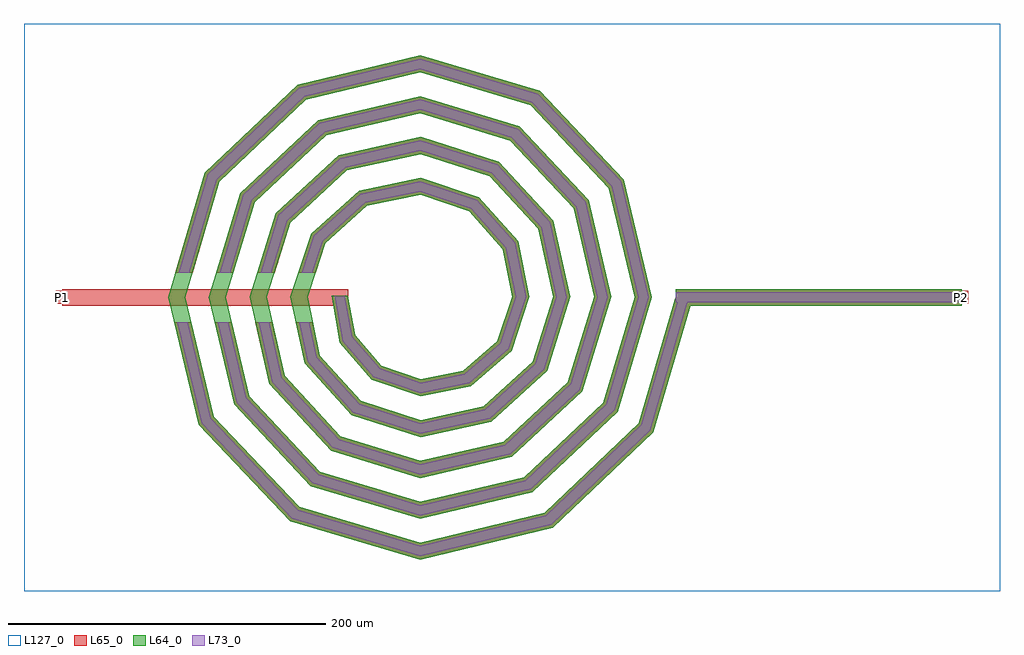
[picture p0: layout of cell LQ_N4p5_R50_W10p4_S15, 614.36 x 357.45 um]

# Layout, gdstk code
import gdstk
lib = gdstk.Library(unit=1e-6, precision=1e-09)
def R(c, l, rs):  # rectangles x0, y0, x1, y1
    for r in rs: c.add(gdstk.rectangle(r[:2], r[2:], *l))
def P(c, l, *ps):  # polygons
    for p in ps: c.add(gdstk.Polygon(p, *l))
L64_0 = (64, 0)
L65_0 = (65, 0)
L73_0 = (73, 0)
L127_0 = (127, 0)

lq_n4p5_r50_w10p4_s15 = lib.new_cell('LQ_N4p5_R50_W10p4_S15')
R(lq_n4p5_r50_w10p4_s15, L64_0, [(160.987,-5.2,340.987,5.2)])
P(lq_n4p5_r50_w10p4_s15, L64_0, [(-40.798,-24.025),(-24.404,-43.051),(0.377,-51.625),(27.197,-46.381),(48.591,-27.649),(58.046,0.339),(51.959,30.377),(30.889,54.135),(0.308,64.467),(-33.562,57.535),(-59.683,34.123),(-70.889,0.282),(-63.108,-36.752),(-37.354,-65.233),(0.26,-77.311),(39.945,-68.68),(70.785,-40.582),(83.733,0.241),(74.251,43.141),(43.808,76.338),(0.225,90.155),(-46.339,79.821),(-81.893,47.032),(-96.578,0.211),(-85.39,-49.538),(-50.255,-87.448),(0.198,-103),(52.739,-90.958),(93.005,-53.476),(109.423,0.187),(96.525,55.941),(56.696,98.562),(0.177,115.846),(-59.144,102.092),(-104.119,59.915),(-122.268,0.168),(-107.659,-62.348),(-63.134,-109.677),(0.16,-128.691),(65.553,-113.225),(115.236,-66.352),(135.114,0.153),(118.791,68.758),(69.569,120.794),(0.146,141.537),(-71.964,124.356),(-126.354,72.786),(-147.959,0.14),(-129.922,-75.17),(-76.002,-131.913),(0.135,-154.382),(78.377,-135.487),(137.473,-79.219),(161.198,1.467),(171.176,-1.467),(146.664,-84.828),(83.529,-144.941),(0.135,-165.146),(-81.621,-141.098),(-139.382,-80.312),(-158.723,0.14),(-135.533,78.414),(-77.096,133.822),(0.146,152.3),(75.208,129.967),(128.263,73.878),(145.877,0.153),(124.401,-72.003),(70.661,-122.704),(0.16,-139.454),(-68.798,-118.835),(-117.145,-67.442),(-133.031,0.168),(-113.268,65.593),(-64.223,111.587),(0.177,126.608),(62.39,107.701),(106.029,61.003),(120.184,0.187),(102.133,-59.187),(57.783,-100.471),(0.198,-113.761),(-55.985,-96.565),(-94.915,-54.561),(-107.338,0.211),(-90.995,52.785),(-51.337,89.359),(0.225,100.914),(49.586,85.425),(83.803,48.112),(94.491,0.241),(79.854,-46.389),(44.885,-78.249),(0.26,-88.067),(-43.194,-74.28),(-72.697,-41.655),(-81.643,0.282),(-68.706,40.002),(-38.422,67.145),(0.308,75.219),(36.814,63.128),(61.596,35.184),(68.795,0.339),(57.548,-33.63),(31.941,-56.05),(0.377,-62.369),(-30.453,-51.963),(-50.507,-28.69),(-55.686,0.954),(-45.463,0.954)])
R(lq_n4p5_r50_w10p4_s15, L65_0, [(-225.374,-5.2,-45.374,5.2), (160.987,-5.2,340.987,5.2), (-229.374,-4,-221.374,4), (336.987,-4,344.987,4)])
P(lq_n4p5_r50_w10p4_s15, L65_0, [(-129.922,-75.17),(-76.003,-131.913),(0.135,-154.382),(78.377,-135.487),(137.473,-79.219),(161.198,1.467),(171.176,-1.467),(146.664,-84.828),(83.529,-144.941),(0.135,-165.146),(-81.621,-141.099),(-139.382,-80.312),(-154.939,-15.6),(-144.243,-15.6)],
  [(-107.659,-62.348),(-63.134,-109.677),(0.16,-128.691),(65.553,-113.225),(115.236,-66.352),(135.114,0.153),(118.791,68.758),(69.569,120.795),(0.146,141.537),(-71.964,124.356),(-126.354,72.786),(-143.296,15.6),(-154.143,15.6),(-135.533,78.414),(-77.096,133.822),(0.146,152.3),(75.208,129.967),(128.263,73.879),(145.877,0.153),(124.401,-72.003),(70.661,-122.704),(0.16,-139.454),(-68.798,-118.835),(-117.145,-67.442),(-129.326,-15.6),(-118.643,-15.6)],
  [(-85.39,-49.538),(-50.255,-87.448),(0.198,-103),(52.739,-90.958),(93.005,-53.476),(109.423,0.187),(96.525,55.941),(56.696,98.562),(0.177,115.846),(-59.144,102.092),(-104.119,59.915),(-117.505,15.6),(-128.369,15.6),(-113.268,65.593),(-64.223,111.587),(0.177,126.608),(62.39,107.701),(106.029,61.004),(120.184,0.187),(102.133,-59.187),(57.783,-100.472),(0.198,-113.761),(-55.985,-96.565),(-94.915,-54.561),(-103.752,-15.6),(-93.087,-15.6)],
  [(-63.108,-36.752),(-37.354,-65.233),(0.26,-77.311),(39.945,-68.681),(70.785,-40.582),(83.733,0.241),(74.251,43.141),(43.808,76.338),(0.225,90.156),(-46.339,79.821),(-81.893,47.032),(-91.663,15.6),(-102.554,15.6),(-90.995,52.785),(-51.337,89.359),(0.225,100.914),(49.586,85.425),(83.804,48.112),(94.491,0.241),(79.854,-46.389),(44.885,-78.249),(0.26,-88.067),(-43.194,-74.281),(-72.697,-41.655),(-78.255,-15.6),(-67.621,-15.6)],
  [(-24.404,-43.051),(0.377,-51.625),(27.197,-46.381),(48.591,-27.649),(58.046,0.339),(51.959,30.377),(30.889,54.135),(0.308,64.467),(-33.562,57.535),(-59.683,34.123),(-65.716,15.6),(-76.654,15.6),(-68.706,40.002),(-38.422,67.145),(0.308,75.219),(36.814,63.128),(61.596,35.184),(68.795,0.339),(57.548,-33.63),(31.941,-56.05),(0.377,-62.369),(-30.453,-51.963),(-50.507,-28.69),(-55.686,0.955),(-45.463,0.955),(-40.798,-24.025)])
R(lq_n4p5_r50_w10p4_s15, L73_0, [(160.987,-3.2,340.987,3.2)])
P(lq_n4p5_r50_w10p4_s15, L73_0, [(-131.741,-76.159),(-77.083,-133.68),(0.083,-156.452),(79.367,-137.305),(139.24,-80.297),(163.117,0.903),(169.257,0.903),(144.896,-83.749),(82.538,-143.123),(0.083,-163.076),(-80.54,-139.332),(-137.562,-79.323),(-152.882,-15.6),(-146.3,-15.6)],
  [(-109.483,-63.328),(-64.223,-111.438),(0.099,-130.761),(66.535,-115.048),(116.998,-67.439),(137.184,0.094),(120.612,69.743),(70.654,122.559),(0.09,143.607),(-72.951,126.177),(-128.119,73.868),(-145.382,15.6),(-152.057,15.6),(-133.768,77.332),(-76.109,132.002),(0.09,150.23),(74.124,128.203),(126.441,72.894),(143.807,0.094),(122.639,-70.916),(69.678,-120.881),(0.099,-137.384),(-67.708,-117.074),(-115.321,-66.463),(-127.271,-15.6),(-120.697,-15.6)],
  [(-87.221,-50.504),(-51.357,-89.201),(0.122,-105.07),(53.709,-92.787),(94.76,-54.574),(111.493,0.115),(98.353,56.915),(57.791,100.319),(0.109,117.915),(-60.121,103.918),(-105.879,61.007),(-119.595,15.6),(-126.28,15.6),(-111.509,64.501),(-63.247,109.761),(0.109,124.538),(61.295,105.943),(104.201,60.03),(118.115,0.115),(100.378,-58.089),(56.813,-98.642),(0.122,-111.692),(-54.883,-94.811),(-93.083,-53.595),(-101.701,-15.6),(-95.138,-15.6)],
  [(-64.952,-37.695),(-38.477,-66.973),(0.16,-79.379),(40.895,-70.521),(72.529,-41.699),(85.802,0.148),(76.088,44.097),(44.919,78.086),(0.139,92.225),(-47.3,81.655),(-83.643,48.138),(-93.758,15.6),(-100.46,15.6),(-89.245,51.679),(-50.376,87.525),(0.139,98.845),(48.475,83.678),(81.967,47.156),(92.422,0.148),(78.11,-45.272),(43.935,-76.409),(0.16,-85.999),(-42.071,-72.541),(-70.853,-40.712),(-76.21,-15.6),(-69.666,-15.6)],
  [(-25.567,-44.765),(0.232,-53.691),(28.109,-48.24),(50.313,-28.799),(60.113,0.208),(53.812,31.301),(32.028,55.865),(0.189,66.535),(-34.497,59.383),(-61.418,35.254),(-67.819,15.6),(-74.55,15.6),(-66.971,38.871),(-37.487,65.297),(0.189,73.151),(35.674,61.399),(59.743,34.26),(66.728,0.208),(55.825,-32.48),(31.029,-54.19),(0.232,-60.303),(-29.289,-50.249),(-48.64,-27.793),(-53.72,0.587),(-47.429,0.587),(-42.666,-24.922)])
R(lq_n4p5_r50_w10p4_s15, L127_0, [(-249.374,-185.146,364.987,172.3)])
lq_n4p5_r50_w10p4_s15.add(gdstk.Label('P2', (340.987,0), layer=65, texttype=0))
lq_n4p5_r50_w10p4_s15.add(gdstk.Label('P1', (-225.374,0), layer=65, texttype=0))
lq_n4p5_r50_w10p4_s15.add(gdstk.Label('P2', (344.987,0), layer=145, texttype=0))
lq_n4p5_r50_w10p4_s15.add(gdstk.Label('P1', (-229.374,0), layer=145, texttype=0))

lib.write_gds('LQ_N4p5_R50_W10p4_S15.gds')
